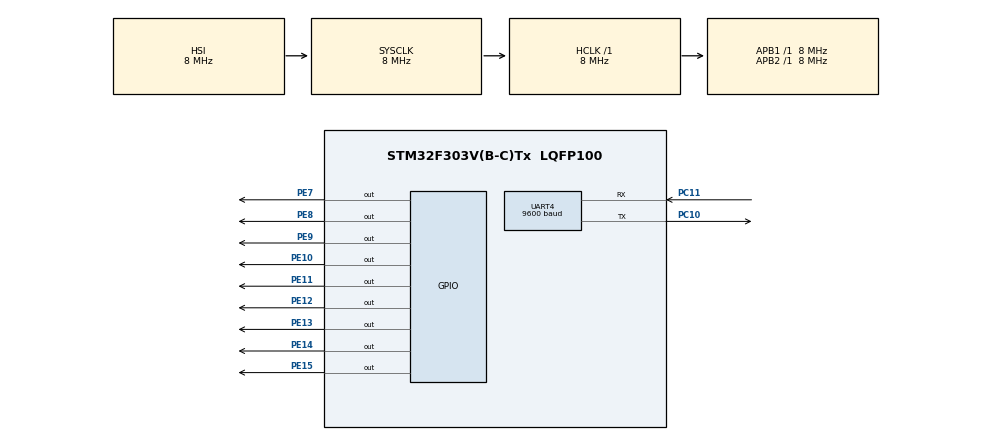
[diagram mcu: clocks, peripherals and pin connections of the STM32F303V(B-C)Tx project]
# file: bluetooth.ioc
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Mcu.Family=STM32F3
Mcu.Name=STM32F303V(B-C)Tx
Mcu.Package=LQFP100
NVIC.PriorityGroup=NVIC_PRIORITYGROUP_4
NVIC.UART4_IRQn=true\:0\:0\:false\:false\:true\:true\:true\:true
PA13.Mode=Serial_Wire
PA13.Signal=SYS_JTMS-SWDIO
PA14.Mode=Serial_Wire
PA14.Signal=SYS_JTCK-SWCLK
PC10.Mode=Asynchronous
PC10.Signal=UART4_TX
PC11.Mode=Asynchronous
PC11.Signal=UART4_RX
PE10.Signal=GPIO_Output
PE11.Signal=GPIO_Output
PE12.Signal=GPIO_Output
PE13.Signal=GPIO_Output
PE14.Signal=GPIO_Output
PE15.Signal=GPIO_Output
PE7.Signal=GPIO_Output
PE8.Signal=GPIO_Output
PE9.Signal=GPIO_Output
PF0-OSC_IN.Mode=HSE-External-Oscillator
PF0-OSC_IN.Signal=RCC_OSC_IN
PF1-OSC_OUT.Mode=HSE-External-Oscillator
PF1-OSC_OUT.Signal=RCC_OSC_OUT
ProjectManager.HeapSize=0x200
ProjectManager.StackSize=0x400
ProjectManager.TargetToolchain=STM32CubeIDE
RCC.AHBFreq_Value=8000000
RCC.APB1Freq_Value=8000000
RCC.APB2Freq_Value=8000000
RCC.CortexFreq_Value=8000000
RCC.HSE_VALUE=8000000
RCC.HSI_VALUE=8000000
RCC.LSE_VALUE=32768
RCC.SYSCLKFreq_VALUE=8000000
UART4.BaudRate=9600
board=custom

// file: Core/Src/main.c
/* USER CODE BEGIN Header */
/**
  ******************************************************************************
  * @file           : main.c
  * @brief          : Main program body
  ******************************************************************************
  * @attention
  *
  * Copyright (c) 2022 STMicroelectronics.
  * All rights reserved.
  *
  * This software is licensed under terms that can be found in the LICENSE file
  * in the root directory of this software component.
  * If no LICENSE file comes with this software, it is provided AS-IS.
  *
  ******************************************************************************
  */
/* USER CODE END Header */
#include "main.h"

/* USER CODE BEGIN Includes */
//uint8_t rxbuf[10];
#define buf  1
uint8_t rxbuf[buf] = {0};
/* USER CODE END Includes */

 UART_HandleTypeDef huart4;

void SystemClock_Config(void);
static void MX_GPIO_Init(void);
static void MX_UART4_Init(void);

/* USER CODE BEGIN 0 */
/*void HAL_UART_RxCpltCallback(UART_HandleTypeDef *huart)
{
    if(huart->Instance == huart4.Instance)
    {
    HAL_UART_Receive_IT(&huart4, rxbuf, 1);
    }
}*/
void HAL_UART_RxCpltCallback(UART_HandleTypeDef *huart)
{
    if(huart->Instance == huart4.Instance)
    {
    HAL_UART_Receive_IT(&huart4, rxbuf, buf);
    }
}
/* USER CODE END 0 */

int main(void)
{

  /* MCU Configuration--------------------------------------------------------*/

  /* Reset of all peripherals, Initializes the Flash interface and the Systick. */
  HAL_Init();

  /* Configure the system clock */
  SystemClock_Config();

  /* Initialize all configured peripherals */
  MX_GPIO_Init();
  MX_UART4_Init();
  /* USER CODE BEGIN 2 */
  //HAL_UART_Receive_IT(&huart4, rxbuf, 1);
  HAL_UART_Receive_IT(&huart4, rxbuf, buf);
  /* USER CODE END 2 */

  /* Infinite loop */
  while (1)
  {

    /* USER CODE BEGIN 3 */

//if (rxbuf[0] == 0xd0){HAL_GPIO_WritePin(GPIOE, GPIO_PIN_15, SET);rxbuf[0] = 0;}
//if (rxbuf[0] == 0xd5){HAL_GPIO_WritePin(GPIOE, GPIO_PIN_15, RESET);rxbuf[0] = 0;}
	  if(rxbuf[0] == '1')
	          {
	              HAL_GPIO_WritePin(GPIOE, GPIO_PIN_15, 1);
	              HAL_GPIO_WritePin(GPIOE, GPIO_PIN_14, 1);
	              HAL_GPIO_WritePin(GPIOE, GPIO_PIN_13, 1);
	              HAL_GPIO_WritePin(GPIOE, GPIO_PIN_12, 1);
	              HAL_GPIO_WritePin(GPIOE, GPIO_PIN_11, 1);
	              HAL_GPIO_WritePin(GPIOE, GPIO_PIN_10, 1);
	              HAL_GPIO_WritePin(GPIOE, GPIO_PIN_9, 1);
	              HAL_GPIO_WritePin(GPIOE, GPIO_PIN_8, 1);
	          }
	          else if(rxbuf[0] == '0')
	          {
	              HAL_GPIO_WritePin(GPIOE, GPIO_PIN_15, 0);
	              HAL_GPIO_WritePin(GPIOE, GPIO_PIN_14, 0);
	              HAL_GPIO_WritePin(GPIOE, GPIO_PIN_13, 0);
	              HAL_GPIO_WritePin(GPIOE, GPIO_PIN_12, 0);
	              HAL_GPIO_WritePin(GPIOE, GPIO_PIN_11, 0);
	              HAL_GPIO_WritePin(GPIOE, GPIO_PIN_10, 0);
	              HAL_GPIO_WritePin(GPIOE, GPIO_PIN_9, 0);
	              HAL_GPIO_WritePin(GPIOE, GPIO_PIN_8, 0);
	          }

  }
  /* USER CODE END 3 */
}

void SystemClock_Config(void)
{
  RCC_OscInitTypeDef RCC_OscInitStruct = {0};
  RCC_ClkInitTypeDef RCC_ClkInitStruct = {0};
  RCC_PeriphCLKInitTypeDef PeriphClkInit = {0};

  /** Initializes the RCC Oscillators according to the specified parameters
  * in the RCC_OscInitTypeDef structure.
  */
  RCC_OscInitStruct.OscillatorType = RCC_OSCILLATORTYPE_HSI;
  RCC_OscInitStruct.HSIState = RCC_HSI_ON;
  RCC_OscInitStruct.HSICalibrationValue = RCC_HSICALIBRATION_DEFAULT;
  RCC_OscInitStruct.PLL.PLLState = RCC_PLL_NONE;
  if (HAL_RCC_OscConfig(&RCC_OscInitStruct) != HAL_OK)
  {
    Error_Handler();
  }

  /** Initializes the CPU, AHB and APB buses clocks
  */
  RCC_ClkInitStruct.ClockType = RCC_CLOCKTYPE_HCLK|RCC_CLOCKTYPE_SYSCLK
                              |RCC_CLOCKTYPE_PCLK1|RCC_CLOCKTYPE_PCLK2;
  RCC_ClkInitStruct.SYSCLKSource = RCC_SYSCLKSOURCE_HSI;
  RCC_ClkInitStruct.AHBCLKDivider = RCC_SYSCLK_DIV1;
  RCC_ClkInitStruct.APB1CLKDivider = RCC_HCLK_DIV1;
  RCC_ClkInitStruct.APB2CLKDivider = RCC_HCLK_DIV1;

  if (HAL_RCC_ClockConfig(&RCC_ClkInitStruct, FLASH_LATENCY_0) != HAL_OK)
  {
    Error_Handler();
  }
  PeriphClkInit.PeriphClockSelection = RCC_PERIPHCLK_UART4;
  PeriphClkInit.Uart4ClockSelection = RCC_UART4CLKSOURCE_PCLK1;
  if (HAL_RCCEx_PeriphCLKConfig(&PeriphClkInit) != HAL_OK)
  {
    Error_Handler();
  }
}

static void MX_UART4_Init(void)
{

  huart4.Instance = UART4;
  huart4.Init.BaudRate = 9600;
  huart4.Init.WordLength = UART_WORDLENGTH_8B;
  huart4.Init.StopBits = UART_STOPBITS_1;
  huart4.Init.Parity = UART_PARITY_NONE;
  huart4.Init.Mode = UART_MODE_TX_RX;
  huart4.Init.HwFlowCtl = UART_HWCONTROL_NONE;
  huart4.Init.OverSampling = UART_OVERSAMPLING_16;
  huart4.Init.OneBitSampling = UART_ONE_BIT_SAMPLE_DISABLE;
  huart4.AdvancedInit.AdvFeatureInit = UART_ADVFEATURE_NO_INIT;
  if (HAL_UART_Init(&huart4) != HAL_OK)
  {
    Error_Handler();
  }

}

static void MX_GPIO_Init(void)
{
  GPIO_InitTypeDef GPIO_InitStruct = {0};

  /* GPIO Ports Clock Enable */
  __HAL_RCC_GPIOF_CLK_ENABLE();
  __HAL_RCC_GPIOE_CLK_ENABLE();
  __HAL_RCC_GPIOA_CLK_ENABLE();
  __HAL_RCC_GPIOC_CLK_ENABLE();

  /*Configure GPIO pin Output Level */
  HAL_GPIO_WritePin(GPIOE, GPIO_PIN_7|GPIO_PIN_8|GPIO_PIN_9|GPIO_PIN_10
                          |GPIO_PIN_11|GPIO_PIN_12|GPIO_PIN_13|GPIO_PIN_14
                          |GPIO_PIN_15, GPIO_PIN_RESET);

  /*Configure GPIO pins : PE7 PE8 PE9 PE10
                           PE11 PE12 PE13 PE14
                           PE15 */
  GPIO_InitStruct.Pin = GPIO_PIN_7|GPIO_PIN_8|GPIO_PIN_9|GPIO_PIN_10
                          |GPIO_PIN_11|GPIO_PIN_12|GPIO_PIN_13|GPIO_PIN_14
                          |GPIO_PIN_15;
  GPIO_InitStruct.Mode = GPIO_MODE_OUTPUT_PP;
  GPIO_InitStruct.Pull = GPIO_NOPULL;
  GPIO_InitStruct.Speed = GPIO_SPEED_FREQ_LOW;
  HAL_GPIO_Init(GPIOE, &GPIO_InitStruct);

}

void Error_Handler(void)
{
  __disable_irq();
  while (1)
  {
  }
}
